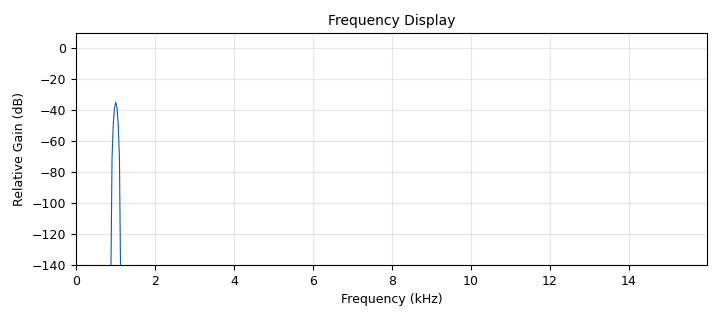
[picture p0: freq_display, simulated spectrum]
<?xml version='1.0' encoding='utf-8'?>
<?grc format='1' created='3.7.10'?>
<flow_graph>
<block>
<key>options</key>
<param><key>id</key><value>Tone_Source</value></param>
<param><key>author</key><value>Peter F Bradshaw</value></param>
<param><key>description</key><value>An audio source for the Radio Test Set program</value></param>
<param><key>generate_options</key><value>qt_gui</value></param>
<param><key>title</key><value>Tone Source</value></param>
</block>
<block>
<key>variable_qtgui_range</key>
<param><key>id</key><value>audio_amp</value></param>
<param><key>value</key><value>0.1</value></param>
<param><key>orient</key><value>Qt.Horizontal</value></param>
<param><key>start</key><value>0</value></param>
<param><key>step</key><value>0.001</value></param>
<param><key>stop</key><value>0.2</value></param>
</block>
<block>
<key>variable_qtgui_range</key>
<param><key>id</key><value>audio_freq</value></param>
<param><key>value</key><value>1000</value></param>
<param><key>orient</key><value>Qt.Horizontal</value></param>
<param><key>start</key><value>100</value></param>
<param><key>step</key><value>100</value></param>
<param><key>stop</key><value>10000</value></param>
</block>
<block>
<key>variable</key>
<param><key>id</key><value>samp_rate</value></param>
<param><key>value</key><value>32000</value></param>
</block>
<block>
<key>analog_sig_source_x</key>
<param><key>id</key><value>analog_sig_source</value></param>
<param><key>amp</key><value>audio_amp</value></param>
<param><key>freq</key><value>audio_freq</value></param>
<param><key>offset</key><value>0</value></param>
<param><key>type</key><value>float</value></param>
<param><key>samp_rate</key><value>32000</value></param>
<param><key>waveform</key><value>analog.GR_SIN_WAVE</value></param>
</block>
<block>
<key>audio_sink</key>
<param><key>id</key><value>audio_sink</value></param>
<param><key>samp_rate</key><value>samp_rate</value></param>
</block>
<block>
<key>qtgui_freq_sink_x</key>
<param><key>id</key><value>freq_display</value></param>
<param><key>bw</key><value>samp_rate</value></param>
<param><key>fc</key><value>0</value></param>
<param><key>fftsize</key><value>1024</value></param>
<param><key>name</key><value>Frequency Display</value></param>
<param><key>showports</key><value>True</value></param>
<param><key>freqhalf</key><value>False</value></param>
<param><key>type</key><value>float</value></param>
<param><key>wintype</key><value>firdes.WIN_BLACKMAN_hARRIS</value></param>
</block>
<connection><source_block_id>analog_sig_source</source_block_id><sink_block_id>audio_sink</sink_block_id><source_key>0</source_key><sink_key>0</sink_key></connection>
<connection><source_block_id>analog_sig_source</source_block_id><sink_block_id>freq_display</sink_block_id><source_key>0</source_key><sink_key>0</sink_key></connection>
</flow_graph>
